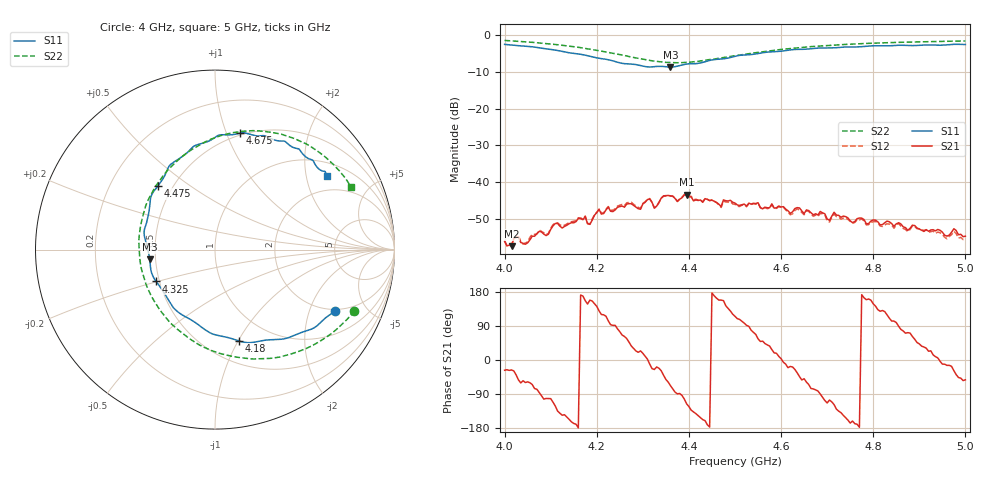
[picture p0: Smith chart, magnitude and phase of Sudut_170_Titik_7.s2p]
# Hz S RI R 50
! CMT, C1220, 16058040, 17.2.0/1
! Date: 15/08/2018 12:03:02
! Data: Format (Calibration Info)
! Freq  S11: Re/Im (F2)  S21: Re/Im (F2)  S12: Re/Im (F2)  S22: Re/Im (F2)
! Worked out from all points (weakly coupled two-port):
!   201 points, 4 GHz to 5 GHz, reference 50 ohm
!   highest |S21| = -43.48 dB at 4.395 GHz (marker M1); lowest = -57.5 dB at 4.015 GHz (marker M2)
!   lowest |S11| = -8.7 dB at 4.36 GHz (marker M3), VSWR 2.17, Z = 23.2 - j2.85 ohm
!   |S11| at or under -10 dB: nowhere
!   |S22| runs from -7.5 to -1.4 dB; largest |S21 - S12| = 0.00034
!   S11 on the Smith chart (normalised r, x): 4 GHz: 1.92, -3.00; 4.18 GHz: 0.72, -1.01; 4.325 GHz: 0.48, -0.20; 4.475 GHz: 0.42, +0.38; 4.675 GHz: 0.48, +1.12; 5 GHz: 1.42, +2.64
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4e9  0.6673 -0.3427  0.00138 -0.000706  0.00145 -0.000633  0.7771 -0.341
4.015e9  0.64 -0.3623  0.00119 -0.000588  0.00129 -0.000555  0.7492 -0.3743
4.025e9  0.618 -0.3787  0.00138 -0.00113  0.00142 -0.001  0.7293 -0.3951
4.045e9  0.572 -0.4214  0.000719 -0.00122  0.000828 -0.00121  0.6855 -0.437
4.11e9  0.3818 -0.4978  -0.00142 -0.00231  -0.00138 -0.0024  0.504 -0.5528
4.17e9  0.1664 -0.517  -0.003 0.000602  -0.00304 0.000573  0.2809 -0.607
4.18e9  0.1343 -0.5089  -0.00227 0.00144  -0.00232 0.00146  0.2396 -0.6085
4.225e9  -0.0305 -0.4621  -0.00105 0.00441  -0.0012 0.00447  0.0439 -0.5828
4.295e9  -0.2526 -0.2915  0.00387 0.00172  0.00404 0.00165  -0.2479 -0.4093
4.315e9  -0.302 -0.2131  0.00573 -0.00113  0.00579 -0.00132  -0.3108 -0.3307
4.325e9  -0.3282 -0.1772  0.004 -0.00186  0.00394 -0.00196  -0.338 -0.2879
4.335e9  -0.3475 -0.1445  0.00491 -0.00196  0.0048 -0.00202  -0.3632 -0.2417
4.36e9  -0.3643 -0.0531  0.00244 -0.00599  0.00244 -0.00592  -0.4071 -0.1186
4.375e9  -0.378 0.0164  7.22e-05 -0.00541  8.36e-05 -0.00546  -0.4192 -0.0444
4.395e9  -0.3949 0.0866  -0.0029 -0.00604  -0.00296 -0.00616  -0.4238 0.0548
4.47e9  -0.3288 0.3403  -0.0043 0.00173  -0.00408 0.00186  -0.3149 0.3758
4.475e9  -0.3169 0.3559  -0.00523 0.00225  -0.00493 0.00236  -0.303 0.3918
4.5e9  -0.2668 0.4408  -0.0022 0.00466  -0.00211 0.00446  -0.2396 0.4672
4.67e9  0.1294 0.6464  0.000842 -0.00346  0.000754 -0.00331  0.2372 0.6616
4.675e9  0.1397 0.6491  0.000714 -0.00361  0.000659 -0.00348  0.2497 0.6609
4.835e9  0.4371 0.5686  -0.000994 0.00268  -0.001 0.00246  0.5732 0.5472
5e9  0.6234 0.412  0.00111 -0.00144  0.00105 -0.00128  0.758 0.3506
